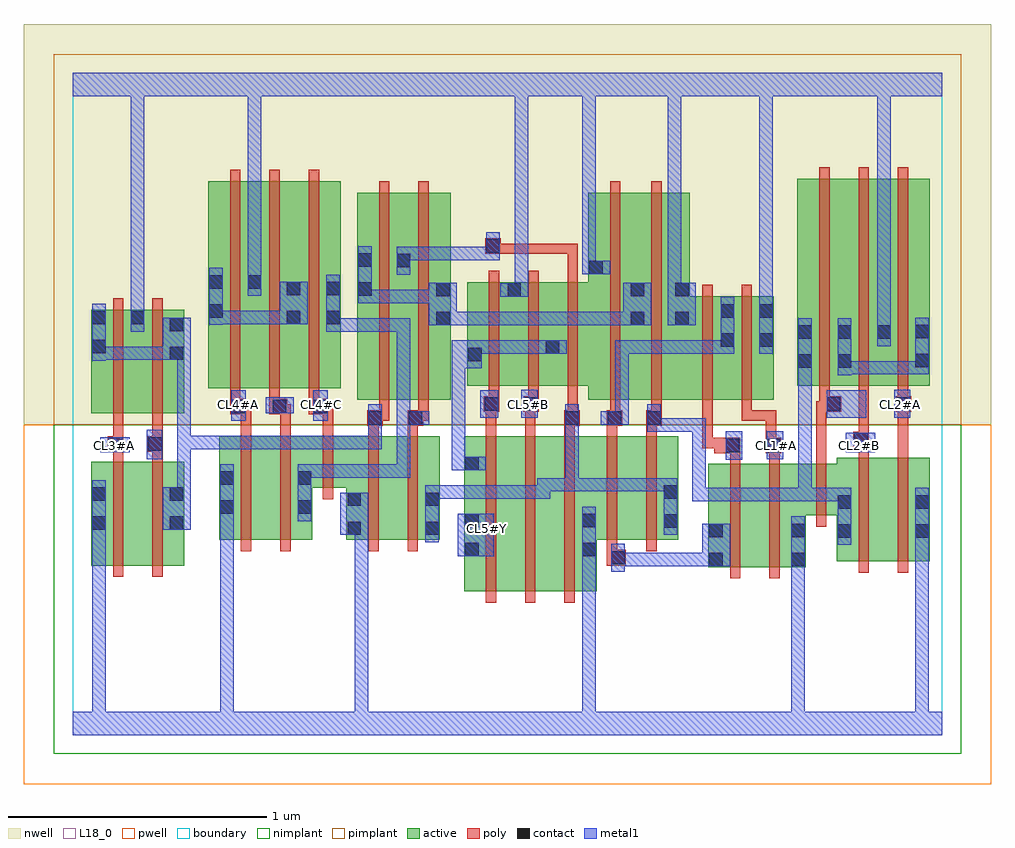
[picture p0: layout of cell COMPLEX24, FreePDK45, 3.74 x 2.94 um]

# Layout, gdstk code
import gdstk
lib = gdstk.Library(unit=1e-6, precision=1e-09)
def R(c, l, rs):  # rectangles x0, y0, x1, y1
    for r in rs: c.add(gdstk.rectangle(r[:2], r[2:], *l))
def A(c, l, x, y, w, h, nx, ny, dx, dy):  # array of equal rectangles
    R(c, l, [(x+i*dx, y+j*dy, x+i*dx+w, y+j*dy+h) for i in range(nx) for j in range(ny)])
active = (1, 0)
pwell = (2, 0)
nwell = (3, 0)
nimplant = (4, 0)
pimplant = (5, 0)
poly = (9, 0)
contact = (10, 0)
metal1 = (11, 0)
L18_0 = (18, 0)
boundary = (235, 0)

complex24 = lib.new_cell('COMPLEX24')
R(complex24, active, [(1.512,0.556,1.572,1.156), (1.512,0.556,1.692,1.156), (1.692,0.556,1.844,1.156), (1.844,0.556,2.024,1.156), (1.964,0.556,2.024,1.156), (2.456,0.65,2.516,1.05), (2.456,0.65,2.636,1.05), (2.636,0.65,2.832,1.05), (2.772,0.65,2.832,1.028), (0.072,0.656,0.132,1.056), (0.072,0.656,0.252,1.056), (0.252,0.656,0.432,1.056), (2.952,0.672,3.132,1.072), (3.132,0.672,3.312,1.072), (3.252,0.672,3.312,1.072), (0.372,0.704,0.432,1.056), (0.566,0.756,0.626,1.156), (0.566,0.756,0.746,1.156), (0.746,0.756,0.926,1.156), (1.058,0.756,1.238,1.156), (1.058,0.756,1.118,1.028), (1.238,0.756,1.418,1.156), (1.358,0.756,1.418,1.156), (1.964,0.756,2.16,1.156), (2.16,0.756,2.34,1.156), (2.28,0.756,2.34,1.156), (2.952,0.76,3.012,1.004), (2.772,0.85,3.012,1.05), (0.866,0.852,0.926,1.156), (0.866,0.956,1.118,1.156), (0.072,1.244,0.132,1.644), (0.072,1.244,0.28,1.644), (0.22,1.244,0.28,1.644), (0.22,1.244,0.432,1.644), (0.372,1.244,0.432,1.644), (1.1,1.296,1.308,2.096), (1.1,1.296,1.16,2.044), (1.248,1.296,1.46,2.096), (1.4,1.296,1.46,2.044), (1.992,1.296,2.212,2.096), (2.152,1.296,2.384,2.096), (2.324,1.296,2.56,1.696), (2.5,1.296,2.708,1.696), (2.648,1.296,2.708,1.696), (0.524,1.34,0.732,2.14), (0.524,1.34,0.584,2.096), (0.672,1.34,0.884,2.14), (0.824,1.34,1.036,2.14), (0.976,1.34,1.036,2.044), (1.524,1.35,1.584,1.75), (1.524,1.35,1.736,1.75), (1.676,1.35,1.736,1.75), (1.676,1.35,1.884,1.75), (1.824,1.35,2.052,1.75), (1.824,1.35,1.884,1.644), (1.992,1.35,2.052,1.838), (2.152,1.35,2.212,2.044), (2.324,1.35,2.384,2.096), (2.8,1.35,2.86,2.134), (2.8,1.35,3.012,2.15), (2.952,1.35,3.164,2.15), (3.104,1.35,3.312,2.15), (3.252,1.35,3.312,2.134), (0.824,1.36,0.884,2.044), (2.952,1.388,3.012,2.134), (2.5,1.498,2.56,1.696), (3.104,1.498,3.164,2.15), (0.672,1.526,0.732,2.044), (1.248,1.686,1.308,2.044)])
R(complex24, pwell, [(-0.188,-0.188,3.548,1.2)])
R(complex24, nwell, [(-0.188,1.2,3.548,2.748)])
R(complex24, nimplant, [(-0.072,-0.072,3.432,1.2)])
R(complex24, pimplant, [(-0.072,1.2,3.432,2.632)])
A(complex24, poly, 1.596, 0.512, 0.04, 0.688, 3, 1, 0.152, 0)
A(complex24, poly, 0.608, 1.26, 0.04, 0.076, 3, 1, 0.152, 0)
A(complex24, poly, 0.608, 1.296, 0.04, 0.888, 3, 1, 0.152, 0)
A(complex24, poly, 1.608, 1.306, 0.04, 0.488, 3, 1, 0.152, 0)
A(complex24, poly, 2.884, 1.306, 0.04, 0.888, 3, 1, 0.152, 0)
R(complex24, poly, [(2.54,0.606,2.58,1.094), (2.692,0.606,2.732,1.094), (0.156,0.612,0.196,1.1), (0.308,0.612,0.348,1.1), (3.036,0.628,3.076,1.116), (3.188,0.628,3.228,1.116), (2.064,0.656,2.136,0.716), (2.064,0.676,2.104,0.752), (0.65,0.712,0.69,1.2), (0.802,0.712,0.842,1.2), (1.142,0.712,1.182,1.2), (1.294,0.712,1.334,1.2), (2.064,0.712,2.104,1.2), (2.216,0.712,2.256,1.2), (2.872,0.806,2.912,1.094), (0.966,0.912,1.006,1.2), (2.54,1.054,2.58,1.13), (2.692,1.054,2.732,1.13), (2.872,1.054,2.912,1.29), (0.156,1.06,0.196,1.136), (0.308,1.06,0.348,1.136), (3.036,1.076,3.076,1.152), (3.188,1.076,3.228,1.29), (2.478,1.09,2.58,1.15), (2.678,1.09,2.738,1.15), (0.136,1.096,0.196,1.156), (0.288,1.096,0.348,1.156), (2.432,1.11,2.472,1.292), (2.432,1.11,2.518,1.15), (2.478,1.11,2.518,1.15), (2.678,1.11,2.718,1.256), (3.016,1.112,3.076,1.172), (0.156,1.116,0.196,1.156), (0.156,1.116,0.196,1.156), (0.156,1.116,0.196,1.24), (0.308,1.116,0.348,1.156), (0.308,1.116,0.348,1.156), (0.308,1.116,0.348,1.24), (3.036,1.132,3.076,1.172), (3.036,1.132,3.076,1.172), (3.036,1.132,3.076,1.346), (0.65,1.16,0.69,1.28), (0.802,1.16,0.842,1.28), (0.966,1.16,1.006,1.28), (1.142,1.16,1.182,1.236), (1.294,1.16,1.334,1.236), (1.596,1.16,1.636,1.29), (1.748,1.16,1.788,1.29), (1.9,1.16,1.94,1.236), (2.064,1.16,2.104,1.236), (2.216,1.16,2.256,1.236), (1.138,1.196,1.198,1.256), (1.294,1.196,1.354,1.256), (1.9,1.196,1.96,1.256), (2.064,1.196,2.104,1.236), (2.064,1.196,2.104,1.236), (2.064,1.196,2.124,1.256), (2.216,1.196,2.276,1.256), (0.156,1.2,0.196,1.688), (0.308,1.2,0.348,1.688), (1.158,1.216,1.198,1.256), (1.158,1.216,1.224,1.256), (1.184,1.216,1.224,1.292), (1.314,1.216,1.354,1.256), (1.314,1.216,1.376,1.256), (1.336,1.216,1.376,1.292), (1.912,1.216,1.952,1.256), (1.912,1.216,1.952,1.256), (1.912,1.216,1.952,1.346), (2.076,1.216,2.116,1.292), (2.236,1.216,2.276,1.292), (2.236,1.216,2.276,1.256), (2.236,1.216,2.276,1.256), (2.584,1.216,2.624,1.292), (2.584,1.216,2.718,1.256), (0.608,1.24,0.668,1.3), (0.628,1.24,0.668,1.28), (0.628,1.24,0.69,1.28), (0.76,1.24,0.83,1.3), (0.79,1.24,0.83,1.28), (0.79,1.24,0.842,1.28), (0.912,1.24,0.986,1.3), (0.946,1.24,0.986,1.28), (0.946,1.24,1.006,1.28), (1.588,1.25,1.648,1.31), (1.596,1.25,1.636,1.29), (1.596,1.25,1.636,1.29), (1.74,1.25,1.8,1.31), (1.748,1.25,1.788,1.29), (1.748,1.25,1.788,1.29), (2.872,1.25,2.924,1.29), (2.884,1.25,2.924,1.29), (2.884,1.25,2.97,1.31), (3.18,1.25,3.24,1.31), (1.184,1.252,1.224,2.14), (1.336,1.252,1.376,2.14), (2.076,1.252,2.116,2.14), (2.236,1.252,2.276,2.14), (2.432,1.252,2.472,1.74), (2.584,1.252,2.624,1.74), (1.608,1.27,1.648,1.346), (1.76,1.27,1.8,1.346), (2.884,1.27,2.924,1.346), (3.188,1.27,3.228,1.346), (3.188,1.27,3.228,1.31), (3.188,1.27,3.228,1.31), (1.912,1.754,1.952,1.9), (1.594,1.86,1.654,1.92), (1.614,1.86,1.834,1.9), (1.794,1.86,1.834,1.9), (1.794,1.86,1.834,1.9), (1.794,1.86,1.834,1.9), (1.794,1.86,1.952,1.9), (1.912,1.86,1.952,1.9), (1.912,1.86,1.952,1.9), (1.912,1.86,1.952,1.9)])
A(complex24, contact, 2.804, 1.532, 0.052, 0.052, 3, 1, 0.152, 0)
R(complex24, contact, [(2.46,0.654,2.512,0.706), (2.776,0.654,2.828,0.706), (2.08,0.66,2.132,0.712), (1.516,0.692,1.568,0.744), (1.968,0.692,2.02,0.744), (2.956,0.764,3.008,0.816), (3.256,0.764,3.308,0.816), (2.46,0.766,2.512,0.818), (2.776,0.766,2.828,0.818), (1.062,0.774,1.114,0.826), (1.362,0.774,1.414,0.826), (0.076,0.794,0.128,0.846), (0.376,0.794,0.428,0.846), (2.284,0.802,2.336,0.854), (1.516,0.804,1.568,0.856), (1.968,0.804,2.02,0.856), (0.57,0.856,0.622,0.908), (0.87,0.856,0.922,0.908), (2.956,0.876,3.008,0.928), (3.256,0.876,3.308,0.928), (1.062,0.886,1.114,0.938), (1.362,0.886,1.414,0.938), (0.076,0.906,0.128,0.958), (0.376,0.906,0.428,0.958), (2.284,0.914,2.336,0.966), (0.57,0.968,0.622,1.02), (0.87,0.968,0.922,1.02), (1.516,1.024,1.568,1.076), (2.524,1.094,2.576,1.146), (2.682,1.094,2.734,1.146), (0.14,1.1,0.192,1.152), (0.292,1.1,0.344,1.152), (3.02,1.116,3.072,1.168), (1.142,1.2,1.194,1.252), (1.298,1.2,1.35,1.252), (1.904,1.2,1.956,1.252), (2.068,1.2,2.12,1.252), (2.22,1.2,2.272,1.252), (0.612,1.244,0.664,1.296), (0.774,1.244,0.826,1.296), (0.93,1.244,0.982,1.296), (1.592,1.254,1.644,1.306), (1.744,1.254,1.796,1.306), (2.914,1.254,2.966,1.306), (3.184,1.254,3.236,1.306), (2.804,1.42,2.856,1.472), (2.956,1.42,3.008,1.472), (3.256,1.422,3.308,1.474), (1.528,1.446,1.58,1.498), (0.376,1.45,0.428,1.502), (1.828,1.474,1.88,1.526), (0.076,1.476,0.128,1.528), (2.504,1.502,2.556,1.554), (2.652,1.502,2.704,1.554), (3.256,1.534,3.308,1.586), (0.376,1.562,0.428,1.614), (1.404,1.584,1.456,1.636), (2.156,1.584,2.208,1.636), (2.328,1.584,2.38,1.636), (0.076,1.588,0.128,1.64), (0.224,1.588,0.276,1.64), (0.828,1.588,0.88,1.64), (0.98,1.588,1.032,1.64), (0.528,1.614,0.58,1.666), (2.504,1.614,2.556,1.666), (2.652,1.614,2.704,1.666), (1.68,1.694,1.732,1.746), (1.404,1.696,1.456,1.748), (2.156,1.696,2.208,1.748), (2.328,1.696,2.38,1.748), (1.104,1.698,1.156,1.75), (0.828,1.7,0.88,1.752), (0.98,1.7,1.032,1.752), (0.528,1.726,0.58,1.778), (0.676,1.726,0.728,1.778), (1.996,1.782,2.048,1.834), (1.252,1.808,1.304,1.86), (1.104,1.81,1.156,1.862), (1.598,1.864,1.65,1.916)])
R(complex24, metal1, [(0,0,3.36,0.092), (0.076,0.04,0.128,0.092), (0.076,0.04,0.128,0.092), (0.076,0.04,0.128,0.092), (0.076,0.04,0.128,0.092), (0.076,0.04,0.128,0.092), (0.076,0.04,0.128,0.092), (0.076,0.04,0.128,0.092), (0.076,0.04,0.128,0.092), (0.076,0.04,0.128,0.092), (0.076,0.04,0.128,0.092), (0.076,0.04,0.128,0.092), (0.076,0.04,0.128,0.092), (0.076,0.04,0.128,0.818), (0.57,0.04,0.622,0.092), (0.57,0.04,0.622,0.092), (0.57,0.04,0.622,0.092), (0.57,0.04,0.622,0.092), (0.57,0.04,0.622,0.092), (0.57,0.04,0.622,0.092), (0.57,0.04,0.622,0.092), (0.57,0.04,0.622,0.092), (0.57,0.04,0.622,0.092), (0.57,0.04,0.622,0.092), (0.57,0.04,0.622,0.092), (0.57,0.04,0.622,0.092), (0.57,0.04,0.622,0.88), (1.09,0.04,1.142,0.092), (1.09,0.04,1.142,0.092), (1.09,0.04,1.142,0.092), (1.09,0.04,1.142,0.092), (1.09,0.04,1.142,0.092), (1.09,0.04,1.142,0.092), (1.09,0.04,1.142,0.092), (1.09,0.04,1.142,0.092), (1.09,0.04,1.142,0.092), (1.09,0.04,1.142,0.092), (1.09,0.04,1.142,0.826), (1.968,0.04,2.02,0.092), (1.968,0.04,2.02,0.092), (1.968,0.04,2.02,0.092), (1.968,0.04,2.02,0.092), (1.968,0.04,2.02,0.092), (1.968,0.04,2.02,0.092), (1.968,0.04,2.02,0.092), (1.968,0.04,2.02,0.092), (1.968,0.04,2.02,0.716), (2.776,0.04,2.828,0.678), (3.256,0.04,3.308,0.092), (3.256,0.04,3.308,0.092), (3.256,0.04,3.308,0.092), (3.256,0.04,3.308,0.092), (3.256,0.04,3.308,0.092), (3.256,0.04,3.308,0.092), (3.256,0.04,3.308,0.092), (3.256,0.04,3.308,0.092), (3.256,0.04,3.308,0.788), (2.776,0.626,2.828,0.846), (2.776,0.626,2.828,0.678), (2.776,0.626,2.828,0.678), (2.776,0.626,2.828,0.678), (2.776,0.626,2.828,0.678), (2.776,0.626,2.828,0.678), (2.776,0.626,2.828,0.678), (2.776,0.626,2.828,0.678), (2.776,0.626,2.828,0.678), (2.776,0.626,2.828,0.678), (2.776,0.626,2.828,0.678), (2.776,0.626,2.828,0.678), (2.776,0.626,2.828,0.678), (2.08,0.632,2.132,0.74), (2.08,0.654,2.132,0.706), (2.08,0.654,2.132,0.706), (2.08,0.654,2.336,0.706), (2.284,0.654,2.336,0.706), (2.284,0.654,2.336,0.706), (2.284,0.654,2.336,0.706), (2.284,0.654,2.484,0.706), (2.432,0.654,2.484,0.706), (2.432,0.654,2.484,0.706), (2.432,0.654,2.54,0.818), (1.968,0.664,2.02,0.884), (1.488,0.692,1.626,0.856), (2.956,0.736,3.008,0.956), (3.256,0.736,3.308,0.956), (3.256,0.736,3.308,0.788), (3.256,0.736,3.308,0.788), (3.256,0.736,3.308,0.788), (3.256,0.736,3.308,0.788), (1.362,0.746,1.414,0.966), (0.076,0.766,0.128,0.986), (1.034,0.774,1.142,0.938), (1.09,0.774,1.142,0.826), (1.09,0.774,1.142,0.826), (2.284,0.774,2.336,0.994), (0.348,0.794,0.456,0.958), (0.57,0.828,0.622,1.048), (0.87,0.828,0.922,1.048), (2.394,0.904,2.446,0.956), (2.394,0.904,2.556,0.956), (2.394,0.904,2.446,1.224), (2.504,0.904,2.556,0.956), (2.504,0.904,2.556,0.956), (2.504,0.904,2.556,0.956), (2.504,0.904,2.746,0.956), (2.694,0.904,2.746,0.956), (2.694,0.904,2.746,0.956), (2.694,0.904,2.746,0.956), (2.694,0.904,2.856,0.956), (2.804,0.904,2.856,0.956), (2.804,0.904,2.856,0.956), (2.804,0.904,2.856,0.956), (2.804,0.904,3.008,0.956), (2.804,0.904,2.856,1.444), (0.404,0.906,0.456,1.158), (1.362,0.914,1.414,0.966), (1.362,0.914,1.414,0.966), (1.362,0.914,1.62,0.966), (1.568,0.914,1.62,0.966), (1.568,0.914,1.736,0.966), (1.684,0.914,1.736,0.966), (1.684,0.914,1.846,0.966), (1.794,0.914,1.846,0.966), (1.794,0.914,1.846,0.966), (1.794,0.914,1.846,0.966), (1.794,0.914,1.846,0.994), (1.794,0.942,1.846,0.994), (1.794,0.942,1.956,0.994), (1.904,0.942,1.956,0.994), (1.904,0.942,1.956,0.994), (1.904,0.942,1.956,0.994), (1.904,0.942,2.162,0.994), (1.904,0.942,1.956,1.224), (2.11,0.942,2.162,0.994), (2.11,0.942,2.162,0.994), (2.11,0.942,2.162,0.994), (2.11,0.942,2.336,0.994), (2.284,0.942,2.336,0.994), (2.284,0.942,2.336,0.994), (0.87,0.996,1.032,1.048), (0.98,0.996,1.032,1.048), (0.98,0.996,1.032,1.048), (0.98,0.996,1.032,1.048), (0.98,0.996,1.18,1.048), (1.128,0.996,1.18,1.048), (1.128,0.996,1.18,1.048), (1.128,0.996,1.18,1.048), (1.128,0.996,1.304,1.048), (1.252,0.996,1.304,1.048), (1.252,0.996,1.304,1.252), (1.464,1.024,1.516,1.076), (1.464,1.024,1.516,1.076), (1.464,1.024,1.54,1.076), (1.464,1.024,1.516,1.47), (1.488,1.024,1.54,1.076), (1.488,1.024,1.596,1.076), (2.524,1.064,2.586,1.174), (0.286,1.066,0.346,1.18), (2.682,1.066,2.746,1.174), (0.106,1.094,0.22,1.152), (2.986,1.094,3.1,1.168), (0.404,1.106,0.456,1.158), (0.404,1.106,0.456,1.158), (0.404,1.106,0.456,1.158), (0.404,1.106,0.496,1.158), (0.404,1.106,0.456,1.502), (0.444,1.106,0.496,1.158), (0.444,1.106,0.688,1.158), (0.636,1.106,0.688,1.158), (0.636,1.106,0.732,1.158), (0.68,1.106,0.732,1.158), (0.68,1.106,0.842,1.158), (0.79,1.106,0.842,1.158), (0.79,1.106,0.842,1.158), (0.79,1.106,0.842,1.158), (0.79,1.106,1.046,1.158), (0.994,1.106,1.046,1.158), (0.994,1.106,1.046,1.158), (0.994,1.106,1.046,1.158), (0.994,1.106,1.194,1.158), (1.142,1.106,1.194,1.224), (1.142,1.172,1.194,1.224), (1.142,1.172,1.194,1.28), (1.904,1.172,1.956,1.224), (1.904,1.172,1.956,1.224), (1.904,1.172,1.956,1.28), (2.22,1.172,2.272,1.28), (2.22,1.172,2.446,1.224), (2.394,1.172,2.446,1.224), (2.394,1.172,2.446,1.224), (2.394,1.172,2.446,1.224), (1.252,1.2,1.304,1.252), (1.252,1.2,1.322,1.252), (1.252,1.2,1.304,1.612), (1.27,1.2,1.378,1.252), (2.04,1.2,2.148,1.252), (2.096,1.2,2.148,1.252), (2.096,1.2,2.148,1.252), (2.096,1.2,2.148,1.526), (0.612,1.216,0.668,1.334), (0.93,1.216,0.986,1.334), (1.574,1.226,1.644,1.334), (1.734,1.226,1.796,1.336), (2.914,1.226,3.066,1.334), (3.174,1.226,3.236,1.336), (0.746,1.244,0.854,1.306), (2.804,1.392,2.856,1.612), (2.804,1.392,2.856,1.444), (2.804,1.392,2.856,1.444), (2.804,1.392,2.856,1.444), (2.804,1.392,2.856,1.444), (2.956,1.392,3.008,1.612), (2.956,1.394,3.008,1.446), (2.956,1.394,3.008,1.446), (2.956,1.394,3.144,1.446), (3.092,1.394,3.308,1.446), (3.092,1.394,3.144,1.446), (3.092,1.394,3.144,1.446), (3.092,1.394,3.144,1.446), (3.256,1.394,3.308,1.614), (1.464,1.418,1.58,1.526), (0.076,1.448,0.128,1.668), (0.076,1.45,0.128,1.502), (0.076,1.45,0.128,1.502), (0.076,1.45,0.238,1.502), (0.186,1.45,0.238,1.502), (0.186,1.45,0.386,1.502), (0.334,1.45,0.386,1.502), (0.334,1.45,0.4,1.502), (0.348,1.45,0.456,1.614), (1.528,1.474,1.594,1.526), (1.542,1.474,1.594,1.526), (1.542,1.474,1.736,1.526), (1.684,1.474,1.736,1.526), (1.684,1.474,1.76,1.526), (1.708,1.474,1.76,1.526), (1.708,1.474,1.852,1.526), (1.8,1.474,1.908,1.526), (2.096,1.474,2.148,1.526), (2.096,1.474,2.336,1.526), (2.284,1.474,2.336,1.526), (2.284,1.474,2.446,1.526), (2.394,1.474,2.446,1.526), (2.394,1.474,2.446,1.526), (2.394,1.474,2.446,1.526), (2.394,1.474,2.556,1.526), (2.504,1.474,2.556,1.694), (2.504,1.474,2.556,1.526), (2.504,1.474,2.556,1.526), (2.652,1.474,2.704,1.694), (3.108,1.504,3.16,1.612), (0.224,1.56,0.276,1.668), (0.98,1.56,1.032,1.78), (0.98,1.56,1.194,1.612), (1.142,1.56,1.194,1.612), (1.142,1.56,1.194,1.612), (1.142,1.56,1.194,1.612), (1.142,1.56,1.194,1.612), (1.142,1.56,1.194,1.612), (1.142,1.56,1.304,1.612), (1.252,1.56,1.304,1.612), (3.108,1.56,3.16,1.612), (3.108,1.56,3.16,1.612), (3.108,1.56,3.16,1.612), (3.108,1.56,3.16,1.612), (3.108,1.56,3.16,2.52), (1.376,1.584,1.484,1.748), (1.432,1.584,1.484,1.636), (1.432,1.584,1.484,1.636), (1.432,1.584,1.594,1.636), (1.542,1.584,1.594,1.636), (1.542,1.584,1.69,1.636), (1.638,1.584,1.69,1.636), (1.638,1.584,1.846,1.636), (1.794,1.584,1.846,1.636), (1.794,1.584,1.846,1.636), (1.794,1.584,1.846,1.636), (1.794,1.584,1.982,1.636), (1.93,1.584,1.982,1.636), (1.93,1.584,1.982,1.636), (1.93,1.584,1.982,1.636), (1.93,1.584,2.162,1.636), (2.11,1.584,2.162,1.636), (2.11,1.584,2.18,1.636), (2.128,1.584,2.236,1.748), (2.3,1.584,2.408,1.748), (0.528,1.586,0.58,1.806), (0.528,1.588,0.58,1.64), (0.528,1.588,0.58,1.64), (0.528,1.588,0.732,1.64), (0.68,1.588,0.732,1.64), (0.68,1.588,0.852,1.64), (0.8,1.588,0.852,1.64), (0.8,1.588,0.852,1.64), (0.8,1.588,0.908,1.752), (0.224,1.616,0.276,1.668), (0.224,1.616,0.276,1.668), (0.224,1.616,0.276,1.668), (0.224,1.616,0.276,1.668), (0.224,1.616,0.276,1.668), (0.224,1.616,0.276,1.668), (0.224,1.616,0.276,2.52), (2.652,1.642,2.704,1.694), (2.652,1.642,2.704,1.694), (2.652,1.642,2.704,1.694), (2.652,1.642,2.704,1.694), (2.652,1.642,2.704,1.694), (2.652,1.642,2.704,1.694), (2.652,1.642,2.704,1.694), (2.652,1.642,2.704,1.694), (2.652,1.642,2.704,2.52), (1.104,1.67,1.156,1.89), (1.104,1.67,1.156,1.722), (1.104,1.67,1.156,1.722), (1.104,1.67,1.304,1.722), (1.252,1.67,1.304,1.722), (1.252,1.67,1.304,1.722), (1.252,1.67,1.304,1.722), (1.252,1.67,1.428,1.722), (1.652,1.694,1.76,1.746), (1.708,1.694,1.76,1.746), (1.708,1.694,1.76,1.746), (1.708,1.694,1.76,1.746), (1.708,1.694,1.76,1.746), (1.708,1.694,1.76,1.746), (1.708,1.694,1.76,1.746), (1.708,1.694,1.76,1.746), (1.708,1.694,1.76,1.746), (1.708,1.694,1.76,1.746), (1.708,1.694,1.76,1.746), (1.708,1.694,1.76,2.52), (2.3,1.696,2.352,1.748), (2.3,1.696,2.352,1.748), (2.3,1.696,2.352,1.748), (2.3,1.696,2.352,1.748), (2.3,1.696,2.352,1.748), (2.3,1.696,2.352,1.748), (2.3,1.696,2.352,2.52), (0.676,1.698,0.728,1.806), (0.676,1.754,0.728,1.806), (0.676,1.754,0.728,1.806), (0.676,1.754,0.728,2.52), (1.252,1.78,1.304,1.888), (1.968,1.782,2.02,1.834), (1.968,1.782,2.02,1.834), (1.968,1.782,2.02,1.834), (1.968,1.782,2.02,1.834), (1.968,1.782,2.076,1.834), (1.968,1.782,2.02,2.52), (1.252,1.836,1.304,1.888), (1.252,1.836,1.304,1.888), (1.252,1.836,1.414,1.888), (1.362,1.836,1.414,1.888), (1.362,1.836,1.414,1.888), (1.362,1.836,1.414,1.888), (1.362,1.836,1.65,1.888), (1.598,1.836,1.65,1.944), (0,2.468,3.36,2.56), (0.224,2.468,0.276,2.52), (0.224,2.468,0.276,2.52), (0.224,2.468,0.276,2.52), (0.224,2.468,0.276,2.52), (0.224,2.468,0.276,2.52), (0.224,2.468,0.276,2.52), (0.224,2.468,0.276,2.52), (0.224,2.468,0.276,2.52), (0.224,2.468,0.276,2.52), (0.224,2.468,0.276,2.52), (0.676,2.468,0.728,2.52), (0.676,2.468,0.728,2.52), (0.676,2.468,0.728,2.52), (0.676,2.468,0.728,2.52), (0.676,2.468,0.728,2.52), (0.676,2.468,0.728,2.52), (1.708,2.468,1.76,2.52), (1.708,2.468,1.76,2.52), (1.708,2.468,1.76,2.52), (1.708,2.468,1.76,2.52), (1.708,2.468,1.76,2.52), (1.708,2.468,1.76,2.52), (1.968,2.468,2.02,2.52), (1.968,2.468,2.02,2.52), (1.968,2.468,2.02,2.52), (1.968,2.468,2.02,2.52), (2.3,2.468,2.352,2.52), (2.3,2.468,2.352,2.52), (2.652,2.468,2.704,2.52), (2.652,2.468,2.704,2.52), (2.652,2.468,2.704,2.52), (2.652,2.468,2.704,2.52), (2.652,2.468,2.704,2.52), (2.652,2.468,2.704,2.52), (2.652,2.468,2.704,2.52), (2.652,2.468,2.704,2.52), (3.108,2.468,3.16,2.52), (3.108,2.468,3.16,2.52), (3.108,2.468,3.16,2.52), (3.108,2.468,3.16,2.52)])
A(complex24, L18_0, 0.614, 1.254, 0.052, 0.052, 3, 1, 0.16, 0)
R(complex24, L18_0, [(0,0,3.36,0.092), (0.076,0.04,0.128,0.092), (0.076,0.04,0.128,0.092), (0.076,0.04,0.128,0.092), (0.076,0.04,0.128,0.092), (0.076,0.04,0.128,0.092), (0.076,0.04,0.128,0.092), (0.076,0.04,0.128,0.092), (0.076,0.04,0.128,0.092), (0.076,0.04,0.128,0.092), (0.076,0.04,0.128,0.092), (0.076,0.04,0.128,0.092), (0.076,0.04,0.128,0.092), (0.076,0.04,0.128,0.818), (0.57,0.04,0.622,0.092), (0.57,0.04,0.622,0.092), (0.57,0.04,0.622,0.092), (0.57,0.04,0.622,0.092), (0.57,0.04,0.622,0.092), (0.57,0.04,0.622,0.092), (0.57,0.04,0.622,0.092), (0.57,0.04,0.622,0.092), (0.57,0.04,0.622,0.092), (0.57,0.04,0.622,0.092), (0.57,0.04,0.622,0.092), (0.57,0.04,0.622,0.092), (0.57,0.04,0.622,0.88), (1.09,0.04,1.142,0.092), (1.09,0.04,1.142,0.092), (1.09,0.04,1.142,0.092), (1.09,0.04,1.142,0.092), (1.09,0.04,1.142,0.092), (1.09,0.04,1.142,0.092), (1.09,0.04,1.142,0.092), (1.09,0.04,1.142,0.092), (1.09,0.04,1.142,0.092), (1.09,0.04,1.142,0.092), (1.09,0.04,1.142,0.826), (1.968,0.04,2.02,0.092), (1.968,0.04,2.02,0.092), (1.968,0.04,2.02,0.092), (1.968,0.04,2.02,0.092), (1.968,0.04,2.02,0.092), (1.968,0.04,2.02,0.092), (1.968,0.04,2.02,0.092), (1.968,0.04,2.02,0.092), (1.968,0.04,2.02,0.716), (2.776,0.04,2.828,0.678), (3.256,0.04,3.308,0.092), (3.256,0.04,3.308,0.092), (3.256,0.04,3.308,0.092), (3.256,0.04,3.308,0.092), (3.256,0.04,3.308,0.092), (3.256,0.04,3.308,0.092), (3.256,0.04,3.308,0.092), (3.256,0.04,3.308,0.092), (3.256,0.04,3.308,0.788), (2.776,0.626,2.828,0.678), (2.776,0.626,2.828,0.678), (2.776,0.626,2.828,0.678), (2.776,0.626,2.828,0.678), (2.776,0.626,2.828,0.678), (2.776,0.626,2.828,0.678), (2.776,0.626,2.828,0.678), (2.776,0.626,2.828,0.678), (2.776,0.626,2.828,0.678), (2.776,0.626,2.828,0.678), (2.776,0.626,2.828,0.678), (2.776,0.626,2.828,0.678), (2.776,0.626,2.828,0.846), (1.968,0.664,2.02,0.884), (1.488,0.692,1.626,0.856), (3.256,0.736,3.308,0.788), (3.256,0.736,3.308,0.788), (3.256,0.736,3.308,0.788), (3.256,0.736,3.308,0.788), (3.256,0.736,3.308,0.956), (0.076,0.766,0.128,0.986), (1.034,0.774,1.142,0.938), (1.09,0.774,1.142,0.826), (1.09,0.774,1.142,0.826), (1.574,0.774,1.626,0.826), (0.57,0.828,0.622,1.048), (1.464,1.024,1.516,1.076), (1.464,1.024,1.516,1.076), (1.464,1.024,1.54,1.076), (1.464,1.024,1.516,1.47), (1.488,1.024,1.54,1.076), (1.488,1.024,1.596,1.076), (2.524,1.064,2.586,1.174), (0.286,1.066,0.346,1.18), (2.682,1.066,2.746,1.174), (0.106,1.094,0.22,1.152), (0.134,1.094,0.186,1.146), (0.294,1.094,0.346,1.146), (2.534,1.094,2.586,1.146), (2.694,1.094,2.746,1.146), (2.986,1.094,3.1,1.168), (3.014,1.094,3.066,1.146), (0.612,1.216,0.668,1.334), (0.93,1.216,0.986,1.334), (1.574,1.226,1.644,1.334), (1.734,1.226,1.796,1.336), (2.914,1.226,3.066,1.334), (3.174,1.226,3.236,1.336), (0.746,1.244,0.854,1.306), (1.574,1.254,1.626,1.306), (1.734,1.254,1.786,1.306), (3.014,1.254,3.066,1.306), (3.174,1.254,3.226,1.306), (1.464,1.418,1.58,1.526), (1.528,1.474,1.594,1.526), (1.542,1.474,1.594,1.526), (1.542,1.474,1.736,1.526), (1.684,1.474,1.736,1.526), (1.684,1.474,1.76,1.526), (1.708,1.474,1.76,1.526), (1.708,1.474,1.852,1.526), (1.8,1.474,1.908,1.526), (2.652,1.474,2.704,1.694), (3.108,1.504,3.16,1.612), (0.224,1.56,0.276,1.668), (3.108,1.56,3.16,1.612), (3.108,1.56,3.16,1.612), (3.108,1.56,3.16,1.612), (3.108,1.56,3.16,1.612), (3.108,1.56,3.16,2.52), (2.3,1.584,2.408,1.748), (0.224,1.616,0.276,1.668), (0.224,1.616,0.276,1.668), (0.224,1.616,0.276,1.668), (0.224,1.616,0.276,1.668), (0.224,1.616,0.276,1.668), (0.224,1.616,0.276,1.668), (0.224,1.616,0.276,2.52), (2.652,1.642,2.704,1.694), (2.652,1.642,2.704,1.694), (2.652,1.642,2.704,1.694), (2.652,1.642,2.704,1.694), (2.652,1.642,2.704,1.694), (2.652,1.642,2.704,1.694), (2.652,1.642,2.704,1.694), (2.652,1.642,2.704,1.694), (2.652,1.642,2.704,2.52), (1.652,1.694,1.76,1.746), (1.708,1.694,1.76,1.746), (1.708,1.694,1.76,1.746), (1.708,1.694,1.76,1.746), (1.708,1.694,1.76,1.746), (1.708,1.694,1.76,1.746), (1.708,1.694,1.76,1.746), (1.708,1.694,1.76,1.746), (1.708,1.694,1.76,1.746), (1.708,1.694,1.76,1.746), (1.708,1.694,1.76,1.746), (1.708,1.694,1.76,2.52), (2.3,1.696,2.352,1.748), (2.3,1.696,2.352,1.748), (2.3,1.696,2.352,1.748), (2.3,1.696,2.352,1.748), (2.3,1.696,2.352,1.748), (2.3,1.696,2.352,1.748), (2.3,1.696,2.352,2.52), (0.676,1.698,0.728,1.806), (0.676,1.754,0.728,1.806), (0.676,1.754,0.728,1.806), (0.676,1.754,0.728,2.52), (1.968,1.782,2.02,1.834), (1.968,1.782,2.02,1.834), (1.968,1.782,2.02,1.834), (1.968,1.782,2.02,1.834), (1.968,1.782,2.076,1.834), (1.968,1.782,2.02,2.52), (0,2.468,3.36,2.56), (0.224,2.468,0.276,2.52), (0.224,2.468,0.276,2.52), (0.224,2.468,0.276,2.52), (0.224,2.468,0.276,2.52), (0.224,2.468,0.276,2.52), (0.224,2.468,0.276,2.52), (0.224,2.468,0.276,2.52), (0.224,2.468,0.276,2.52), (0.224,2.468,0.276,2.52), (0.224,2.468,0.276,2.52), (0.676,2.468,0.728,2.52), (0.676,2.468,0.728,2.52), (0.676,2.468,0.728,2.52), (0.676,2.468,0.728,2.52), (0.676,2.468,0.728,2.52), (0.676,2.468,0.728,2.52), (1.708,2.468,1.76,2.52), (1.708,2.468,1.76,2.52), (1.708,2.468,1.76,2.52), (1.708,2.468,1.76,2.52), (1.708,2.468,1.76,2.52), (1.708,2.468,1.76,2.52), (1.968,2.468,2.02,2.52), (1.968,2.468,2.02,2.52), (1.968,2.468,2.02,2.52), (1.968,2.468,2.02,2.52), (2.3,2.468,2.352,2.52), (2.3,2.468,2.352,2.52), (2.652,2.468,2.704,2.52), (2.652,2.468,2.704,2.52), (2.652,2.468,2.704,2.52), (2.652,2.468,2.704,2.52), (2.652,2.468,2.704,2.52), (2.652,2.468,2.704,2.52), (2.652,2.468,2.704,2.52), (2.652,2.468,2.704,2.52), (3.108,2.468,3.16,2.52), (3.108,2.468,3.16,2.52), (3.108,2.468,3.16,2.52), (3.108,2.468,3.16,2.52)])
R(complex24, boundary, [(0,0,3.36,2.56)])
complex24.add(gdstk.Label('CL1#A', (2.72,1.12), layer=11, texttype=0))
complex24.add(gdstk.Label('CL1#B', (2.56,1.12), layer=11, texttype=0))
complex24.add(gdstk.Label('CL2#A', (3.2,1.28), layer=11, texttype=0))
complex24.add(gdstk.Label('CL2#B', (3.04,1.12), layer=11, texttype=0))
complex24.add(gdstk.Label('CL2#C', (3.04,1.28), layer=11, texttype=0))
complex24.add(gdstk.Label('CL3#A', (0.16,1.12), layer=11, texttype=0))
complex24.add(gdstk.Label('CL3#B', (0.32,1.12), layer=11, texttype=0))
complex24.add(gdstk.Label('CL4#A', (0.64,1.28), layer=11, texttype=0))
complex24.add(gdstk.Label('CL4#B', (0.8,1.28), layer=11, texttype=0))
complex24.add(gdstk.Label('CL4#C', (0.96,1.28), layer=11, texttype=0))
complex24.add(gdstk.Label('CL5#B', (1.76,1.28), layer=11, texttype=0))
complex24.add(gdstk.Label('CL5#C', (1.6,1.28), layer=11, texttype=0))
complex24.add(gdstk.Label('CL5#Y', (1.6,0.8), layer=11, texttype=0))

lib.write_gds('COMPLEX24.gds')
